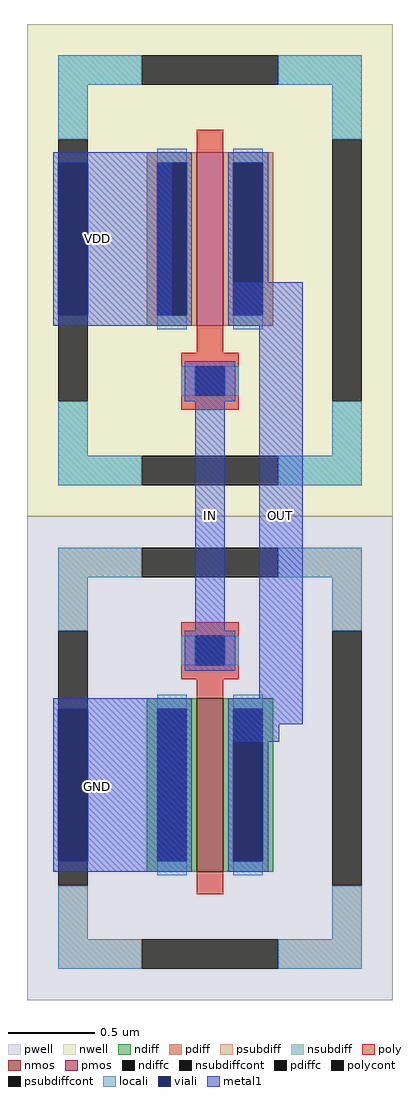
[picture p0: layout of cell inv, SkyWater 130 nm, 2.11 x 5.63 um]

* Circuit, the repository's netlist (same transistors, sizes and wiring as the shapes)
** sch_path: /home/riff/mbkm-polytron/inverter/layout/inv.sch
.subckt inv vdd in out gnd
*.PININFO in:I vdd:I gnd:I out:O
XM1 out in gnd gnd sky130_fd_pr__nfet_01v8 L=0.15 W=1 nf=1 m=1
XM2 out in vdd vdd sky130_fd_pr__pfet_01v8 L=0.15 W=1 nf=1 m=1
.ends
.end

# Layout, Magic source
magic
tech sky130A
magscale 1 2
<< viali >>
rect 112 878 146 1054
rect 112 248 146 424
<< metal1 >>
rect 106 1054 243 1066
rect 106 878 112 1054
rect 146 878 243 1054
rect 106 866 243 878
rect 314 866 394 916
rect 270 474 304 819
rect 344 436 394 866
rect 106 424 260 436
rect 106 248 112 424
rect 146 248 260 424
rect 308 406 394 436
rect 308 386 367 406
rect 106 236 260 248
use sky130_fd_pr__nfet_01v8_64Z3AY  XM1
transform 1 0 287 0 1 367
box -211 -279 211 279
use sky130_fd_pr__pfet_01v8_LGS3BL  XM2
transform 1 0 287 0 1 930
box -211 -284 211 284
<< labels >>
flabel metal1 157 966 157 966 0 FreeSans 160 0 0 0 VDD
port 0 nsew
flabel metal1 157 334 157 334 0 FreeSans 160 0 0 0 GND
port 1 nsew
flabel metal1 287 647 287 647 0 FreeSans 160 0 0 0 IN
port 2 nsew
flabel metal1 368 647 368 647 0 FreeSans 160 0 0 0 OUT
port 3 nsew
<< end >>

# cell sky130_fd_pr__nfet_01v8_64Z3AY: kit device sky130_fd_pr__nfet_01v8, w 1.0 l 0.15 m 1 nf 1 diffcov 100 polycov 100 guard 1 glc 1 grc 1 gtc 1 gbc 1 tbcov 100 rlcov 100 topc 1 botc 0 poverlap 0 doverlap 1 lmin 0.15 wmin 0.42 compatible {sky130_fd_pr__nfet_01v8 sky130_fd_pr__nfet_01v8_lvt sky130_fd_bs_flash__special_sonosfet_star sky130_fd_pr__nfet_g5v0d10v5 sky130_fd_pr__nfet_05v0_nvt sky130_fd_pr__nfet_03v3_nvt} full_metal 1 viasrc 100 viadrn 100 viagate 100 viagb 0 viagr 0 viagl 0 viagt 0

# cell sky130_fd_pr__pfet_01v8_LGS3BL: kit device sky130_fd_pr__pfet_01v8, w 1.0 l 0.15 m 1 nf 1 diffcov 100 polycov 100 guard 1 glc 1 grc 1 gtc 1 gbc 1 tbcov 100 rlcov 100 topc 0 botc 1 poverlap 0 doverlap 1 lmin 0.15 wmin 0.42 compatible {sky130_fd_pr__pfet_01v8 sky130_fd_pr__pfet_01v8_lvt sky130_fd_pr__pfet_01v8_hvt sky130_fd_pr__pfet_g5v0d10v5} full_metal 1 viasrc 100 viadrn 100 viagate 100 viagb 0 viagr 0 viagl 0 viagt 0
